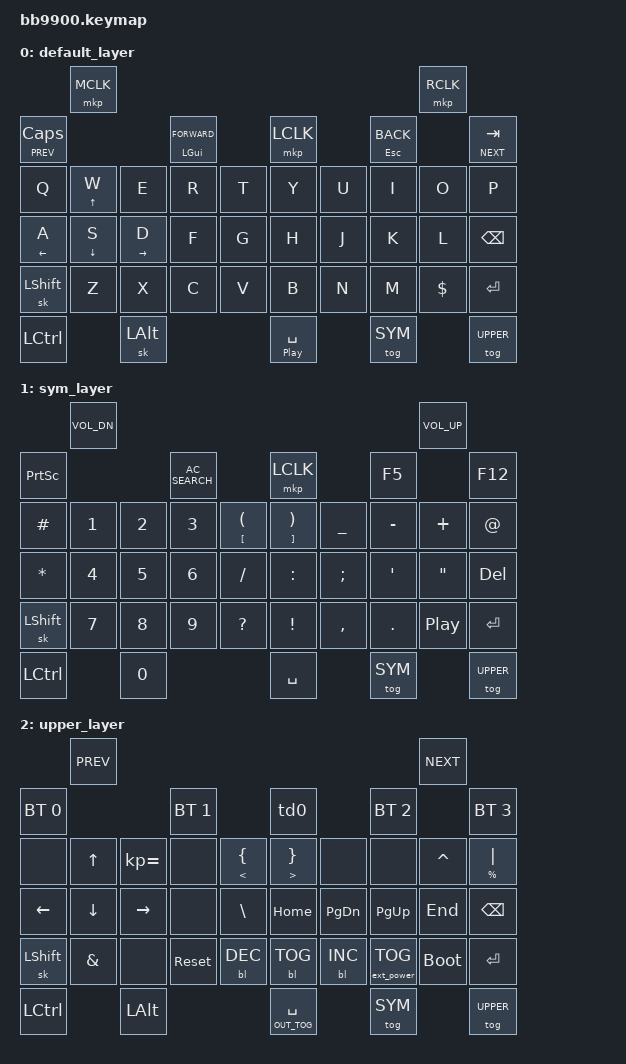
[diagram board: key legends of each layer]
/*
 * Copyright (c) 2023 ZitaoTech
 *
 * SPDX-License-Identifier: MIT
 */
   
#include <behaviors.dtsi>
#include <dt-bindings/zmk/keys.h>
#include <dt-bindings/zmk/bt.h>
#include <dt-bindings/zmk/outputs.h>
#include <dt-bindings/zmk/mouse.h>
#include <dt-bindings/zmk/backlight.h>
#include <dt-bindings/zmk/ext_power.h>


#define SYM 1
#define UPPER 2

/ {
    behaviors {
        td0: tap_dance_0 {
            compatible = "zmk,behavior-tap-dance";
            #binding-cells = <0>;
            tapping-term-ms = <400>;
            bindings = <&mkp LCLK>, <&bt BT_CLR>;
        };
    };
    behaviors {
        hm: homerow_mods {
            compatible = "zmk,behavior-hold-tap";
            #binding-cells = <2>;
            tapping-term-ms = <500>;
            bindings = <&out &kp>;
        };
    };

    keymap {
        compatible = "zmk,keymap";

        default_layer {

            bindings = <
//         --------------------------------------------------------------------------------------------------------------------------         
//         |    Shoulder Key1    |                                                                             |    Shoulder Key2    |     
// |         Call key      |      Blackberry Key        |    Trackpad    |             Back Key                |             Endcall Key          |
// |     Q      |     W    |     E    |     R    |      T      |       Y        |       U        |        I        |       O      |      P        |     
// |     A      |     S    |     D    |     F    |      G      |       H        |       J        |        K        |       L      |      ←        |  
// |     alt    |     Z    |     X    |     C    |      V      |       B        |       N        |        M        |       $      |    Enter      |   
//        |         aA     |         0           |           SPACE              |         SYM         |        aA          |       
//        -----------------------------------------------------------------------------------------------------------------

                 &mkp MCLK                                                                                          &mkp RCLK
    &mt C_PREV CLCK                &mt LGUI K_FORWARD                  &mkp LCLK                          &mt ESC K_BACK                    &mt C_NEXT TAB
    &kp Q        &mt UP W   &kp E       &kp R     &kp T         &kp Y             &kp U            &kp I            &kp O            &kp P
    &mt LEFT A   &mt DOWN S &mt RIGHT D &kp F     &kp G         &kp H             &kp J            &kp K            &kp L            &kp BSPC
    &sk LSHFT    &kp Z      &kp X       &kp C     &kp V         &kp B             &kp N            &kp M            &kp DOLLAR       &kp ENTER
    &kp LCTRL               &sk LALT                            &mt C_PP SPACE                          &tog SYM                          &tog UPPER
            >;
        };


        sym_layer {

            bindings = <        
                 &kp C_VOL_DN                                                                                       &kp C_VOL_UP
    &kp PSCRN               &kp C_AC_SEARCH                     &mkp LCLK                          &kp F5                            &kp F12 
    &kp HASH     &kp N1     &kp N2      &kp N3    &mt LBKT LPAR &mt RBKT RPAR     &kp UNDER        &kp MINUS        &kp PLUS         &kp AT
    &kp STAR     &kp N4     &kp N5      &kp N6    &kp SLASH     &kp COLON         &kp SEMI         &kp APOS         &kp DQT          &kp DEL
    &sk LSHFT    &kp N7     &kp N8      &kp N9    &kp QMARK     &kp EXCL          &kp COMMA        &kp DOT          &kp C_PLAY_PAUSE &kp ENTER
    &kp LCTRL               &kp N0                              &kp SPACE                          &tog SYM                          &tog UPPER
            >;
        };

        upper_layer {

            bindings = <
                 &kp C_PREV                                                                                                     &kp C_NEXT
    &bt BT_SEL 0            &bt BT_SEL 1                                     &td0                           &bt BT_SEL 2                         &bt BT_SEL 3
    &none        &kp UP     &kp KP_EQUAL        &none      &mt LT LBRC       &mt GT RBRC   &none            &none               &kp CARET        &mt PERCENT PIPE
    &kp LEFT     &kp DOWN   &kp RIGHT           &none      &kp BSLH          &kp HOME      &kp PG_DN        &kp PG_UP           &kp END             &kp BSPC
    &sk LSHFT    &kp AMPS   &none               &sys_reset &bl BL_DEC        &bl BL_TOG    &bl BL_INC       &ext_power EP_TOG   &bootloader      &kp ENTER
    &kp LCTRL               &kp LALT                                         &hm OUT_TOG SPACE              &tog SYM                             &tog UPPER
            >;
        };
    };
};

